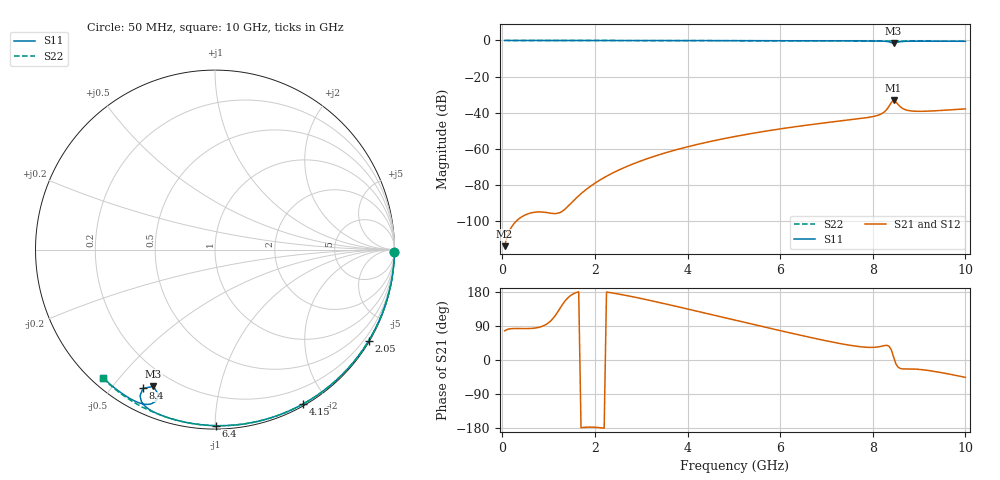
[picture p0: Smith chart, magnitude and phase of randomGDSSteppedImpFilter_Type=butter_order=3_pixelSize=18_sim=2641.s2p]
! freq	dB(S11)	phase(S11)	dB(S12)	phase(S12)
!  dB(S21)	phase(S21)	dB(S22)	phase(S22)
!S-par simulation data
#  GHz  S  DB  R 50
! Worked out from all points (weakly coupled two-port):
!   200 points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, 50 MHz to 10 GHz, reference 50 ohm
!   highest |S21| = -33.15 dB at 8.45 GHz (marker M1); lowest = -113.8 dB at 50 MHz (marker M2)
!   lowest |S11| = -1.6 dB at 8.45 GHz (marker M3), VSWR 11.18, Z = 6.32 - j32 ohm
!   |S11| at or under -10 dB: nowhere
!   |S22| runs from -0.4 to 0.0 dB; largest |S21 - S12| = 0
!   S11 on the Smith chart (normalised r, x): 50 MHz: open; 2.05 GHz: 0.03, -3.65; 4.15 GHz: 0.02, -1.72; 6.4 GHz: 0.02, -1.00; 8.4 GHz: 0.09, -0.60; 10 GHz: 0.03, -0.45
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0.05  -0.00 -0.8  -113.81 77.1  -113.81 77.1  -0.00 -0.8
0.9  -0.02 -13.6  -95.02 90.9  -95.02 90.9  -0.02 -13.6
1.75  -0.03 -26.3  -83.70 -177.9  -83.70 -177.9  -0.03 -26.1
1.95  -0.04 -29.2  -79.84 -177.2  -79.84 -177.2  -0.04 -29.1
2.05  -0.04 -30.7  -78.14 -178.0  -78.14 -178.0  -0.04 -30.5
2.35  -0.04 -35.0  -73.76 177.4  -73.76 177.4  -0.04 -34.9
2.65  -0.05 -39.4  -70.13 170.9  -70.13 170.9  -0.05 -39.2
3.4  -0.07 -50.0  -63.12 151.5  -63.12 151.5  -0.07 -49.8
4.15  -0.08 -60.4  -57.89 130.4  -57.89 130.4  -0.08 -60.1
5.05  -0.11 -72.4  -53.00 104.5  -53.00 104.5  -0.11 -72.0
6.4  -0.17 -89.7  -47.46 66.4  -47.46 66.4  -0.16 -89.1
6.7  -0.18 -93.5  -46.44 58.3  -46.44 58.3  -0.18 -92.8
8.05  -0.30 -110.9  -41.85 33.6  -41.85 33.6  -0.26 -108.9
8.25  -0.43 -114.6  -39.52 38.0  -39.52 38.0  -0.28 -111.2
8.35  -0.76 -117.1  -36.44 36.5  -36.44 36.5  -0.29 -112.3
8.4  -1.20 -117.4  -34.31 27.1  -34.31 27.1  -0.29 -112.9
8.45  -1.56 -114.2  -33.15 7.9  -33.15 7.9  -0.29 -113.4
8.5  -1.23 -111.2  -34.01 -10.3  -34.01 -10.3  -0.29 -114.0
8.65  -0.54 -113.4  -37.70 -23.5  -37.70 -23.5  -0.30 -115.8
8.85  -0.41 -116.9  -39.05 -23.6  -39.05 -23.6  -0.32 -118.1
9.2  -0.40 -121.6  -39.10 -27.7  -39.10 -27.7  -0.36 -122.1
10  -0.47 -131.1  -37.85 -45.8  -37.85 -45.8  -0.44 -131.1
